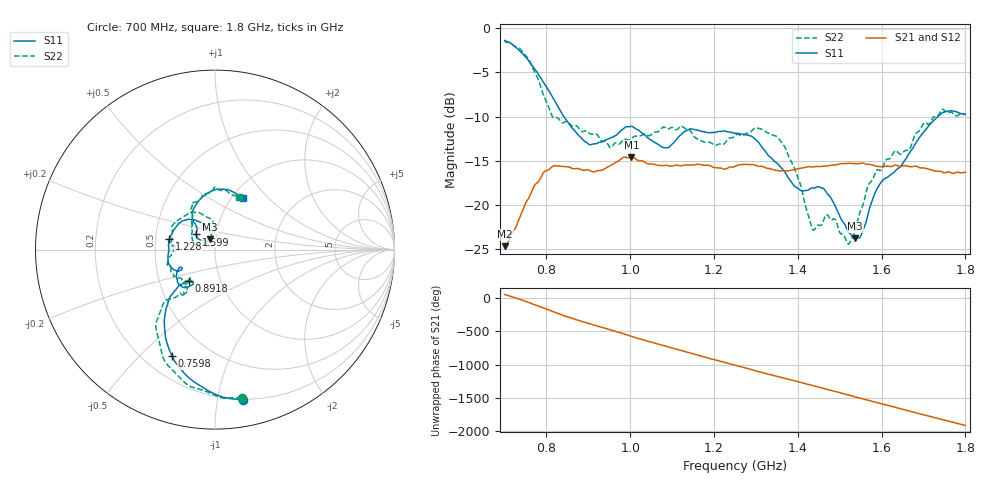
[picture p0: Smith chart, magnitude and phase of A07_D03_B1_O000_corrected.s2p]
! Created with skrf 1.9.0 (http://scikit-rf.org).
# Hz S RI R 50.0
!freq ReS11 ImS11 ReS21 ImS21 ReS12 ImS12 ReS22 ImS22
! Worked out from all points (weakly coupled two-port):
!   1601 points, 700 MHz to 1.8 GHz, reference 50 ohm
!   highest |S21| = -14.56 dB at 1.002 GHz (marker M1); lowest = -24.6 dB at 701.4 MHz (marker M2)
!   lowest |S11| = -23.8 dB at 1.537 GHz (marker M3), VSWR 1.14, Z = 46.9 + j5.45 ohm
!   |S11| at or under -10 dB: 841.3 MHz to 1.734 GHz (892.2 MHz wide, 69.3 % of centre)
!   |S22| runs from -24.4 to -1.5 dB; largest |S21 - S12| = 0.0036
!   S11 on the Smith chart (normalised r, x): 700 MHz: 0.20, -1.19; 759.8 MHz: 0.31, -0.63; 891.8 MHz: 0.71, -0.26; 1.228 GHz: 0.59, +0.07; 1.599 GHz: 0.80, +0.14; 1.8 GHz: 1.12, +0.72
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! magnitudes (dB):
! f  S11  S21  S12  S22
! 700 MHz  -1.4  -24.6  -24.4  -1.5
! 701.4 MHz  -1.4  -24.6  -24.3  -1.6
! 759.8 MHz  -3.9  -19.0  -18.9  -3.7
! 814.8 MHz  -7.8  -15.6  -15.7  -10.0
! 883.6 MHz  -12.4  -16.0  -15.9  -11.7
! 891.8 MHz  -12.8  -16.1  -16.1  -11.6
! 953 MHz  -12.4  -15.5  -15.5  -13.5
! 1.002 GHz  -11.1  -14.6  -14.7  -12.5
! 1.067 GHz  -13.2  -15.5  -15.4  -11.7
! 1.228 GHz  -11.7  -15.9  -15.8  -12.9
! 1.25 GHz  -11.9  -15.6  -15.6  -12.2
! 1.355 GHz  -15.5  -16.1  -16.1  -12.5
! 1.394 GHz  -17.9  -16.0  -16.0  -16.1
! 1.434 GHz  -18.1  -15.7  -15.7  -22.6
! 1.471 GHz  -18.7  -15.6  -15.6  -21.1
! 1.521 GHz  -23.0  -15.3  -15.3  -24.4
! 1.537 GHz  -23.8  -15.3  -15.3  -22.9
! 1.568 GHz  -20.9  -15.4  -15.4  -17.7
! 1.599 GHz  -17.4  -15.7  -15.6  -16.0
! 1.617 GHz  -16.7  -15.6  -15.6  -14.8
! 1.738 GHz  -9.8  -16.2  -16.2  -9.7
! 1.8 GHz  -9.7  -16.3  -16.3  -9.8
